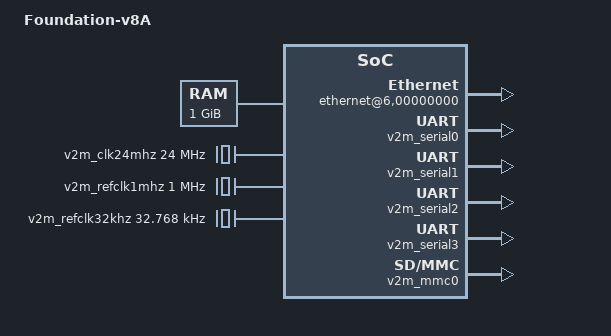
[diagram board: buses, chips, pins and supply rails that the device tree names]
/*
 * ARM Ltd.
 *
 * ARMv8 Foundation model DTS
 */

/dts-v1/;

/memreserve/ 0x80000000 0x00010000;

/ {
	model = "Foundation-v8A";
	compatible = "arm,foundation-aarch64", "arm,vexpress";
	interrupt-parent = <&gic>;
	#address-cells = <2>;
	#size-cells = <2>;

	chosen { };

	aliases {
		serial0 = &v2m_serial0;
		serial1 = &v2m_serial1;
		serial2 = &v2m_serial2;
		serial3 = &v2m_serial3;
	};

	cpus {
		#address-cells = <2>;
		#size-cells = <0>;

		cpu@0 {
			device_type = "cpu";
			compatible = "arm,armv8";
			reg = <0x0 0x0>;
			enable-method = "spin-table";
			cpu-release-addr = <0x0 0x8000fff8>;
			next-level-cache = <&L2_0>;
		};
		cpu@1 {
			device_type = "cpu";
			compatible = "arm,armv8";
			reg = <0x0 0x1>;
			enable-method = "spin-table";
			cpu-release-addr = <0x0 0x8000fff8>;
			next-level-cache = <&L2_0>;
		};
		cpu@2 {
			device_type = "cpu";
			compatible = "arm,armv8";
			reg = <0x0 0x2>;
			enable-method = "spin-table";
			cpu-release-addr = <0x0 0x8000fff8>;
			next-level-cache = <&L2_0>;
		};
		cpu@3 {
			device_type = "cpu";
			compatible = "arm,armv8";
			reg = <0x0 0x3>;
			enable-method = "spin-table";
			cpu-release-addr = <0x0 0x8000fff8>;
			next-level-cache = <&L2_0>;
		};

		L2_0: l2-cache0 {
			compatible = "cache";
		};
	};

	memory@80000000 {
		device_type = "memory";
		reg = <0x00000000 0x80000000 0 0x40000000>;
/*      <0x00000008 0x80000000 0 0x80000000>;*/
	};

	timer {
		compatible = "arm,armv8-timer";
		interrupts = <1 13 0xf08>,
			     <1 14 0xf08>,
			     <1 11 0xf08>,
			     <1 10 0xf08>;
		clock-frequency = <100000000>;
	};

	pmu {
		compatible = "arm,armv8-pmuv3";
		interrupts = <0 60 4>,
			     <0 61 4>,
			     <0 62 4>,
			     <0 63 4>;
	};

	watchdog@2a440000 {
		compatible = "arm,sbsa-gwdt";
		reg = <0x0 0x2a440000 0 0x1000>,
			<0x0 0x2a450000 0 0x1000>;
		interrupts = <0 27 4>;
		timeout-sec = <30>;
	};

	smb@08000000 {
		compatible = "arm,vexpress,v2m-p1", "simple-bus";
		arm,v2m-memory-map = "rs1";
		#address-cells = <2>; /* SMB chipselect number and offset */
		#size-cells = <1>;

		ranges = <0 0 0 0x08000000 0x04000000>,
			 <1 0 0 0x14000000 0x04000000>,
			 <2 0 0 0x18000000 0x04000000>,
			 <3 0 0 0x1c000000 0x04000000>,
			 <4 0 0 0x0c000000 0x04000000>,
			 <5 0 0 0x10000000 0x04000000>,
			 <6 0 0 0x1a000000 0x04000000>;

		#interrupt-cells = <1>;
		interrupt-map-mask = <0 0 63>;
		interrupt-map = <0 0  0 &gic 0 0 0  0 4>,
				<0 0  1 &gic 0 0 0  1 4>,
				<0 0  2 &gic 0 0 0  2 4>,
				<0 0  3 &gic 0 0 0  3 4>,
				<0 0  4 &gic 0 0 0  4 4>,
				<0 0  5 &gic 0 0 0  5 4>,
				<0 0  6 &gic 0 0 0  6 4>,
				<0 0  7 &gic 0 0 0  7 4>,
				<0 0  8 &gic 0 0 0  8 4>,
				<0 0  9 &gic 0 0 0  9 4>,
				<0 0 10 &gic 0 0 0 10 4>,
				<0 0 11 &gic 0 0 0 11 4>,
				<0 0 12 &gic 0 0 0 12 4>,
				<0 0 13 &gic 0 0 0 13 4>,
				<0 0 14 &gic 0 0 0 14 4>,
				<0 0 15 &gic 0 0 0 15 4>,
				<0 0 16 &gic 0 0 0 16 4>,
				<0 0 17 &gic 0 0 0 17 4>,
				<0 0 18 &gic 0 0 0 18 4>,
				<0 0 19 &gic 0 0 0 19 4>,
				<0 0 20 &gic 0 0 0 20 4>,
				<0 0 21 &gic 0 0 0 21 4>,
				<0 0 22 &gic 0 0 0 22 4>,
				<0 0 23 &gic 0 0 0 23 4>,
				<0 0 24 &gic 0 0 0 24 4>,
				<0 0 25 &gic 0 0 0 25 4>,
				<0 0 26 &gic 0 0 0 26 4>,
				<0 0 27 &gic 0 0 0 27 4>,
				<0 0 28 &gic 0 0 0 28 4>,
				<0 0 29 &gic 0 0 0 29 4>,
				<0 0 30 &gic 0 0 0 30 4>,
				<0 0 31 &gic 0 0 0 31 4>,
				<0 0 32 &gic 0 0 0 32 4>,
				<0 0 33 &gic 0 0 0 33 4>,
				<0 0 34 &gic 0 0 0 34 4>,
				<0 0 35 &gic 0 0 0 35 4>,
				<0 0 36 &gic 0 0 0 36 4>,
				<0 0 37 &gic 0 0 0 37 4>,
				<0 0 38 &gic 0 0 0 38 4>,
				<0 0 39 &gic 0 0 0 39 4>,
				<0 0 40 &gic 0 0 0 40 4>,
				<0 0 41 &gic 0 0 0 41 4>,
				<0 0 42 &gic 0 0 0 42 4>,
				<0 0 43 &gic 0 0 0 43 4>,
				<0 0 44 &gic 0 0 0 44 4>,
				<0 0 45 &gic 0 0 0 45 4>,
				<0 0 46 &gic 0 0 0 46 4>;

		ethernet@6,00000000 {
			compatible = "smsc,lan91c111";
			reg = <6 0x00000000 0x10000>;
			interrupts = <15>;
		};

		v2m_clk24mhz: clk24mhz {
			compatible = "fixed-clock";
			#clock-cells = <0>;
			clock-frequency = <24000000>;
			clock-output-names = "v2m:clk24mhz";
		};

		v2m_refclk1mhz: refclk1mhz {
			compatible = "fixed-clock";
			#clock-cells = <0>;
			clock-frequency = <1000000>;
			clock-output-names = "v2m:refclk1mhz";
		};

		v2m_refclk32khz: refclk32khz {
			compatible = "fixed-clock";
			#clock-cells = <0>;
			clock-frequency = <32768>;
			clock-output-names = "v2m:refclk32khz";
		};

		iofpga@3,00000000 {
			compatible = "simple-bus";
			#address-cells = <1>;
			#size-cells = <1>;
			ranges = <0 3 0 0x200000>;

			v2m_sysreg: sysreg@010000 {
				compatible = "arm,vexpress-sysreg";
				reg = <0x010000 0x1000>;
			};

			v2m_serial0: uart@090000 {
				compatible = "arm,pl011", "arm,primecell";
				reg = <0x090000 0x1000>;
				interrupts = <5>;
				clocks = <&v2m_clk24mhz>, <&v2m_clk24mhz>;
				clock-names = "uartclk", "apb_pclk";
			};

			v2m_serial1: uart@0a0000 {
				compatible = "arm,pl011", "arm,primecell";
				reg = <0x0a0000 0x1000>;
				interrupts = <6>;
				clocks = <&v2m_clk24mhz>, <&v2m_clk24mhz>;
				clock-names = "uartclk", "apb_pclk";
			};

			v2m_serial2: uart@0b0000 {
				compatible = "arm,pl011", "arm,primecell";
				reg = <0x0b0000 0x1000>;
				interrupts = <7>;
				clocks = <&v2m_clk24mhz>, <&v2m_clk24mhz>;
				clock-names = "uartclk", "apb_pclk";
			};

			v2m_serial3: uart@0c0000 {
				compatible = "arm,pl011", "arm,primecell";
				reg = <0x0c0000 0x1000>;
				interrupts = <8>;
				clocks = <&v2m_clk24mhz>, <&v2m_clk24mhz>;
				clock-names = "uartclk", "apb_pclk";
			};

			v2m_mmc0: mmci@1c050000 {
				compatible = "arasan,sdhci-8.9a";
				reg = <0x050000 0x1000>;
				interrupts = <0 9 4>;
				interrupt-parent = <&gic>;
				clock-names = "clk_xin", "clk_ahb";
				clocks = <&v2m_clk24mhz>, <&v2m_clk24mhz>;
				status = "okay";
			};

            v2m_clcd: clcd@1f0000 {
        		compatible = "arm,pl111", "arm,primecell";
        		reg = <0x1f0000 0x1000>;
        		interrupt-names = "combined";
        		interrupts = <14>;
                clocks = <&v2m_clk24mhz>, <&v2m_clk24mhz>;
        		clock-names = "clcdclk", "apb_pclk";
        
        		port {
        			v2m_clcd_pads: endpoint {
	        			remote-endpoint = <&v2m_clcd_panel>;
		        		arm,pl11x,tft-r0g0b0-pads = <0x0 0x8 0x10>;
			        };
		        };

        		panel {
	        		compatible = "panel-dpi";

		        	port {
			        	v2m_clcd_panel: endpoint {
				        	remote-endpoint = <&v2m_clcd_pads>;
        				};
	        		};
/* 1024x768
	        		panel-timing {
		        		clock-frequency = <0x3c8ef5f>;
        				hactive = <0x400>;
        				hback-porch = <0x98>;
        				hfront-porch = <0x30>;
        				hsync-len = <0x68>;
        				vactive = <0x300>;
        				vback-porch = <0x17>;
        				vfront-porch = <0x3>;
        				vsync-len = <0x4>;
        			};
*/
                  /*640x40*/
					panel-timing {
						clock-frequency = <25175000>;
						hactive = <640>;
						hback-porch = <40>;
						hfront-porch = <24>;
						hsync-len = <96>;
						vactive = <480>;
						vback-porch = <32>;
						vfront-porch = <11>;
						vsync-len = <2>;
					};
        		};
        	};
		};
	};

    reserved-memory {
        #address-cells = <2>;
        #size-cells = <2>;
        ranges;

        aipu_reserved: buffer@0xA0000000 {
            compatible = "shared-dma-pool";
            no-map;
            reg = <0x0 0xA0000000 0x0 0x20000000>;
        };
    };

    aipu@0x64000000 {
        compatible = "armchina,zhouyi-v2-def";
        reg = <0x0 0x64000000 0x0 0x1000>;
        host-aipu-offset = <0x0 0x0>;
        memory-region=<&aipu_reserved>;
        interrupts = <0 49 4>;
    };
};
